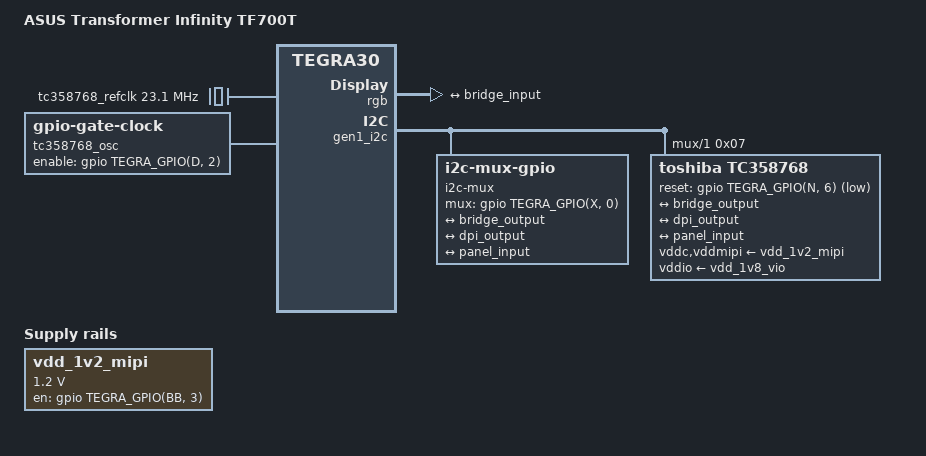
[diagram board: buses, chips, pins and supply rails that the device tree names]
// SPDX-License-Identifier: GPL-2.0
/dts-v1/;

#include "tegra30-asus-transformer.dtsi"

/ {
	model = "ASUS Transformer Infinity TF700T";
	compatible = "asus,tf700t", "nvidia,tegra30";

	host1x@50000000 {
		dc@54200000 {
			clocks = <&tegra_car TEGRA30_CLK_DISP1>,
				 <&tegra_car TEGRA30_CLK_PLL_D_OUT0>;

			rgb {
				status = "okay";

				/delete-property/ nvidia,panel;

				port {
					dpi_output: endpoint {
						remote-endpoint = <&bridge_input>;
						bus-width = <24>;
					};
				};
			};
		};
	};

	pinmux@70000868 {
		state_default: pinmux {
			lcd_pwr2_pc6 {
				nvidia,pins = "lcd_pwr2_pc6",
						"lcd_dc1_pd2";
				nvidia,function = "displaya";
				nvidia,pull = <TEGRA_PIN_PULL_NONE>;
				nvidia,tristate = <TEGRA_PIN_DISABLE>;
				nvidia,enable-input = <TEGRA_PIN_DISABLE>;
			};

			pbb3 {
				nvidia,pins = "pbb3";
				nvidia,function = "vgp3";
				nvidia,pull = <TEGRA_PIN_PULL_NONE>;
				nvidia,tristate = <TEGRA_PIN_DISABLE>;
				nvidia,enable-input = <TEGRA_PIN_DISABLE>;
			};

			spi2_mosi_px0 {
				nvidia,pins = "spi2_mosi_px0";
				nvidia,function = "spi2";
				nvidia,pull = <TEGRA_PIN_PULL_NONE>;
				nvidia,tristate = <TEGRA_PIN_DISABLE>;
				nvidia,enable-input = <TEGRA_PIN_DISABLE>;
			};

			pbb7 {
				nvidia,pins = "pbb7";
				nvidia,function = "i2s4";
				nvidia,pull = <TEGRA_PIN_PULL_NONE>;
				nvidia,tristate = <TEGRA_PIN_DISABLE>;
				nvidia,enable-input = <TEGRA_PIN_DISABLE>;
			};

			kb_row7_pr7 {
				nvidia,pins = "kb_row7_pr7";
				nvidia,function = "kbc";
				nvidia,pull = <TEGRA_PIN_PULL_NONE>;
				nvidia,tristate = <TEGRA_PIN_DISABLE>;
				nvidia,enable-input = <TEGRA_PIN_DISABLE>;
			};

			gmi_cs4_n_pk2 {
				nvidia,pins = "gmi_cs4_n_pk2";
				nvidia,function = "gmi";
				nvidia,pull = <TEGRA_PIN_PULL_UP>;
				nvidia,tristate = <TEGRA_PIN_DISABLE>;
				nvidia,enable-input = <TEGRA_PIN_ENABLE>;
			};
		};
	};

	tc358768_refclk: clock-tc358768 {
		compatible = "fixed-clock";
		clock-frequency = <23100000>;
		clock-accuracy = <100>;
		#clock-cells = <0>;
	};

	tc358768_osc: clock-tc358768-osc-gate {
		compatible = "gpio-gate-clock";
		enable-gpios = <&gpio TEGRA_GPIO(D, 2) GPIO_ACTIVE_HIGH>;
		clocks = <&tc358768_refclk>;
		#clock-cells = <0>;
	};

	i2c-mux {
		compatible = "i2c-mux-gpio";

		mux-gpios = <&gpio TEGRA_GPIO(X, 0) GPIO_ACTIVE_HIGH>;
		i2c-parent = <&gen1_i2c>;
		idle-state = <0x0>;

		#address-cells = <1>;
		#size-cells = <0>;

		i2c@1 {
			reg = <1>;
			#address-cells = <1>;
			#size-cells = <0>;

			tc358768: dsi@7 {
				compatible = "toshiba,tc358768";
				reg = <0x7>;

				#address-cells = <1>;
				#size-cells = <0>;

				clocks = <&tc358768_osc>;
				clock-names = "refclk";

				reset-gpios = <&gpio TEGRA_GPIO(N, 6) GPIO_ACTIVE_LOW>;

				vddc-supply = <&vdd_1v2_mipi>;
				vddio-supply = <&vdd_1v8_vio>;
				vddmipi-supply = <&vdd_1v2_mipi>;

				/*
				 * Panasonic VVX10F004B00 or HYDIS HV101WU1-1E1
				 * LCD SuperIPS+ Full HD panel.
				 */
				panel@1 {
					compatible = "panasonic,vvx10f004b00";
					reg = <1>;

					power-supply = <&vdd_pnl_reg>;
					backlight = <&backlight>;

					display-timings {
						timing@0 {
							/* 1920x1200@60Hz */
							clock-frequency = <154000000>;

							hactive = <1920>;
							hfront-porch = <48>;
							hback-porch = <80>;
							hsync-len = <32>;
							hsync-active = <1>;

							vactive = <1200>;
							vfront-porch = <3>;
							vback-porch = <26>;
							vsync-len = <6>;
							vsync-active = <1>;
						};
					};

					port {
						panel_input: endpoint {
							remote-endpoint = <&bridge_output>;
						};
					};
				};

				ports {
					#address-cells = <1>;
					#size-cells = <0>;

					port@0 {
						reg = <0>;

						bridge_input: endpoint {
							remote-endpoint = <&dpi_output>;
							bus-width = <24>;
						};
					};

					port@1 {
						reg = <1>;

						bridge_output: endpoint {
							remote-endpoint = <&panel_input>;
						};
					};
				};
			};
		};
	};

	/delete-node/ panel;

	vdd_1v2_mipi: regulator-mipi {
		compatible = "regulator-fixed";
		regulator-name = "tc358768_1v2_vdd";
		regulator-min-microvolt = <1200000>;
		regulator-max-microvolt = <1200000>;
		regulator-enable-ramp-delay = <10000>;
		regulator-boot-on;
		gpio = <&gpio TEGRA_GPIO(BB, 3) GPIO_ACTIVE_HIGH>;
		enable-active-high;
	};
};
